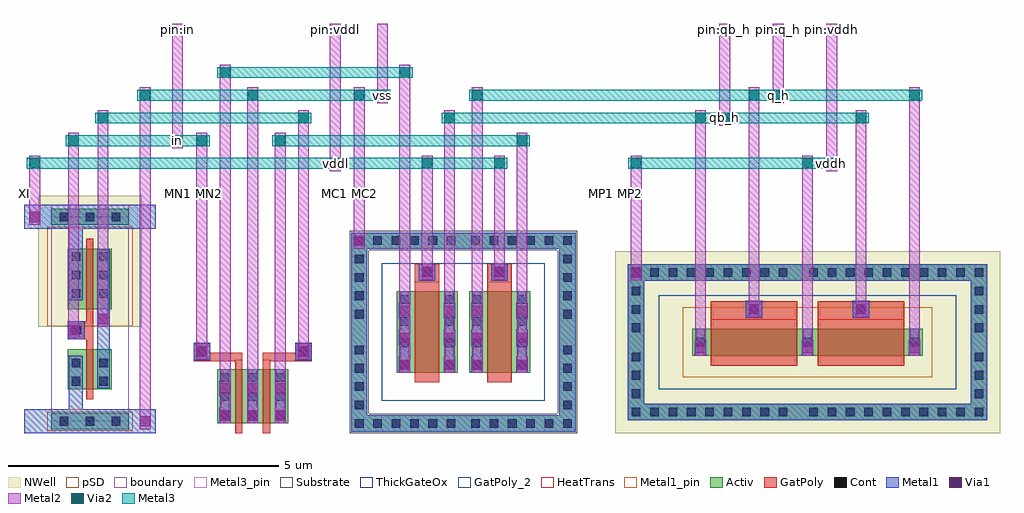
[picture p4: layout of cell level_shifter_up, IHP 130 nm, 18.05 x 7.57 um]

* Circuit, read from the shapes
.subckt level_shifter_up in q_h qb_h vddh vddl vss
XM1 sg13cmos5l_inv_1_0/Y in vss vss sg13_lv_nmos w=0.74u l=0.13u
XM2 vss in n1 vss sg13_lv_nmos w=1u l=0.13u
XM3 n2 sg13cmos5l_inv_1_0/Y vss vss sg13_lv_nmos w=1u l=0.13u
XM4 qb_h vddl n1 vss sg13_hv_nmos w=1.5u l=0.45u
XM5 n2 vddl q_h vss sg13_hv_nmos w=1.5u l=0.45u
XM6 sg13cmos5l_inv_1_0/Y in vddl vddl sg13_lv_pmos w=1.12u l=0.13u
XM7 vddh q_h qb_h vddh sg13_hv_pmos w=0.5u l=1.6u
XM8 q_h qb_h vddh vddh sg13_hv_pmos w=0.5u l=1.6u
.ends

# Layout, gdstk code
import gdstk
lib = gdstk.Library(unit=1e-6, precision=1e-09)
def R(c, l, rs):  # rectangles x0, y0, x1, y1
    for r in rs: c.add(gdstk.rectangle(r[:2], r[2:], *l))
def A(c, l, x, y, w, h, nx, ny, dx, dy):  # array of equal rectangles
    R(c, l, [(x+i*dx, y+j*dy, x+i*dx+w, y+j*dy+h) for i in range(nx) for j in range(ny)])
def P(c, l, *ps):  # polygons
    for p in ps: c.add(gdstk.Polygon(p, *l))
Activ = (1, 0)
GatPoly = (5, 0)
GatPoly_2 = (5, 2)
Cont = (6, 0)
Metal1 = (8, 0)
Metal1_pin = (8, 2)
Metal2 = (10, 0)
pSD = (14, 0)
Via1 = (19, 0)
Via2 = (29, 0)
Metal3 = (30, 0)
Metal3_pin = (30, 2)
NWell = (31, 0)
Substrate = (40, 0)
ThickGateOx = (44, 0)
HeatTrans = (51, 0)
boundary = (189, 4)

sg13cmos5l_inv_1 = lib.new_cell('sg13cmos5l_inv_1')
R(sg13cmos5l_inv_1, Activ, [(0,-0.15,1.44,0.15), (0.31,0.59,1.12,1.33), (0.31,2.075,1.12,3.195), (0,3.63,1.44,3.93)])
P(sg13cmos5l_inv_1, GatPoly, [(0.65,0.41),(0.65,1.52),(0.31,1.52),(0.31,1.85),(0.65,1.85),(0.65,3.375),(0.78,3.375),(0.78,0.41)])
A(sg13cmos5l_inv_1, Cont, 0.38, 2.285, 0.16, 0.16, 1, 3, 0, 0.34)
A(sg13cmos5l_inv_1, Cont, 0.89, 2.285, 0.16, 0.16, 1, 3, 0, 0.34)
R(sg13cmos5l_inv_1, Cont, [(0.16,-0.08,0.32,0.08), (0.16,-0.08,0.32,0.08), (0.64,-0.08,0.8,0.08), (0.64,-0.08,0.8,0.08), (1.12,-0.08,1.28,0.08), (1.12,-0.08,1.28,0.08), (0.38,0.66,0.54,0.82), (0.89,0.66,1.05,0.82), (0.38,1,0.54,1.16), (0.89,1,1.05,1.16), (0.395,1.605,0.555,1.765), (0.16,3.7,0.32,3.86), (0.16,3.7,0.32,3.86), (0.64,3.7,0.8,3.86), (0.64,3.7,0.8,3.86), (1.12,3.7,1.28,3.86), (1.12,3.7,1.28,3.86)])
R(sg13cmos5l_inv_1, Metal1, [(0.855,0.61,1.085,3.175), (0.31,1.52,0.625,1.85)])
P(sg13cmos5l_inv_1, Metal1, [(0,-0.22),(0,0.22),(0.33,0.22),(0.33,1.21),(0.59,1.21),(0.59,0.22),(1.44,0.22),(1.44,-0.22)],
  [(0.33,2.235),(0.33,3.56),(0,3.56),(0,4),(1.44,4),(1.44,3.56),(0.59,3.56),(0.59,2.235)])
R(sg13cmos5l_inv_1, Metal1_pin, [(0,-0.22,1.44,0.22), (0.855,0.61,1.085,3.175), (0.31,1.52,0.625,1.85), (0,3.56,1.44,4)])
R(sg13cmos5l_inv_1, pSD, [(-0.07,-0.18,1.51,0.18), (-0.07,1.76,1.51,3.6)])
R(sg13cmos5l_inv_1, NWell, [(-0.24,1.75,1.68,4.17)])
R(sg13cmos5l_inv_1, boundary, [(0,0,1.44,3.78)])
sg13cmos5l_inv_1.add(gdstk.Label('VDD', (0.705,3.78), layer=8, texttype=25))
sg13cmos5l_inv_1.add(gdstk.Label('VSS', (0.72,-0.02), layer=8, texttype=25))
sg13cmos5l_inv_1.add(gdstk.Label('A', (0.48,1.68), layer=8, texttype=25))
sg13cmos5l_inv_1.add(gdstk.Label('Y', (0.98,1.69), layer=8, texttype=25))

nmos_2 = lib.new_cell('nmos$2')
A(nmos_2, Activ, 0, 0, 0.3, 0.3, 3, 1, 0.51, 0)
R(nmos_2, Activ, [(0,0,1.32,1)])
R(nmos_2, GatPoly, [(0.34,-0.18,0.47,1.18), (0.85,-0.18,0.98,1.18)])
R(nmos_2, GatPoly_2, [(0.34,-0.18,0.47,1.18)])
A(nmos_2, Cont, 0.07, 0.07, 0.16, 0.16, 3, 3, 0.51, 0.35)
A(nmos_2, Metal1, 0.07, 0, 0.16, 1, 3, 1, 0.51, 0)
R(nmos_2, Metal1_pin, [(0.07,0,0.23,1), (0.58,0,0.74,1)])
R(nmos_2, HeatTrans, [(0.34,-0.18,0.47,1.18), (0.85,-0.18,0.98,1.18)])
nmos_2.add(gdstk.Label('nmos', (0.405,0.5), layer=63, texttype=0))
nmos_2.add(gdstk.Label('nmos', (0.405,0.5), layer=51, texttype=0))
nmos_2.add(gdstk.Label('nmos', (0.915,0.5), layer=51, texttype=0))

nmoshv_1 = lib.new_cell('nmosHV$1')
R(nmoshv_1, Activ, [(0,0,0.3,0.3), (0,0,1.13,1.5), (0.83,0,1.13,0.3)])
R(nmoshv_1, GatPoly, [(0.34,-0.18,0.79,1.68)])
R(nmoshv_1, GatPoly_2, [(0.34,-0.18,0.79,1.68)])
A(nmoshv_1, Cont, 0.07, 0.07, 0.16, 0.16, 1, 4, 0, 0.4)
A(nmoshv_1, Cont, 0.9, 0.07, 0.16, 0.16, 1, 4, 0, 0.4)
R(nmoshv_1, Metal1, [(0.07,0,0.23,1.5), (0.9,0,1.06,1.5)])
R(nmoshv_1, Metal1_pin, [(0.07,0,0.23,1.5), (0.9,0,1.06,1.5)])
R(nmoshv_1, ThickGateOx, [(-0.27,-0.52,1.4,2.02)])
R(nmoshv_1, HeatTrans, [(0.34,-0.18,0.79,1.68)])
nmoshv_1.add(gdstk.Label('nmosHV', (0.565,0.75), layer=63, texttype=0))
nmoshv_1.add(gdstk.Label('nmosHV', (0.565,0.75), layer=51, texttype=0))

guard_ring_2 = lib.new_cell('guard_ring$2')
R(guard_ring_2, Activ, [(-2.075,-1.54,-1.775,1.54), (1.775,-1.54,2.075,1.54), (-2.075,1.54,2.075,1.84)])
P(guard_ring_2, Activ, [(-2.075,-1.84),(-2.075,1.54),(-1.775,1.54),(-1.775,-1.54),(1.775,-1.54),(1.775,1.54),(-2.075,1.54),(-2.075,1.84),(2.075,1.84),(2.075,-1.84)])
A(guard_ring_2, Cont, -2.005, -1.77, 0.16, 0.16, 6, 2, 0.34, 3.38)
A(guard_ring_2, Cont, 0.145, -1.77, 0.16, 0.16, 6, 2, 0.34, 3.38)
A(guard_ring_2, Cont, -2.005, -1.43, 0.16, 0.16, 1, 4, 0, 0.34)
A(guard_ring_2, Cont, 1.845, -1.43, 0.16, 0.16, 1, 4, 0, 0.34)
A(guard_ring_2, Cont, -2.005, 0.25, 0.16, 0.16, 1, 4, 0, 0.34)
A(guard_ring_2, Cont, 1.845, 0.25, 0.16, 0.16, 1, 4, 0, 0.34)
R(guard_ring_2, Metal1, [(-2.075,-1.84,2.075,-1.54), (-2.075,-1.54,-1.775,1.54), (1.775,-1.54,2.075,1.54), (-2.075,1.54,2.075,1.84)])
R(guard_ring_2, pSD, [(-2.105,-1.51,-1.745,1.51), (1.745,-1.51,2.105,1.51), (-2.105,1.51,2.105,1.87)])
P(guard_ring_2, pSD, [(-2.105,-1.87),(-2.105,1.51),(-1.745,1.51),(-1.745,-1.51),(1.745,-1.51),(1.745,1.51),(-2.105,1.51),(-2.105,1.87),(2.105,1.87),(2.105,-1.87)])
R(guard_ring_2, Substrate, [(-2.105,-1.51,-1.745,1.51), (1.745,-1.51,2.105,1.51), (-2.105,1.51,2.105,1.87)])
P(guard_ring_2, Substrate, [(-2.105,-1.87),(-2.105,1.51),(-1.745,1.51),(-1.745,-1.51),(1.745,-1.51),(1.745,1.51),(-2.105,1.51),(-2.105,1.87),(2.105,1.87),(2.105,-1.87)])
guard_ring_2.add(gdstk.Label('sub!', (0,-1.69), layer=63, texttype=0))

pmoshv_1 = lib.new_cell('pmosHV$1')
A(pmoshv_1, Activ, 0, 0, 0.3, 0.3, 3, 1, 1.98, 0)
R(pmoshv_1, Activ, [(0,0,4.26,0.5)])
R(pmoshv_1, GatPoly, [(0.34,-0.18,1.94,0.68), (2.32,-0.18,3.92,0.68)])
R(pmoshv_1, GatPoly_2, [(0.34,-0.18,1.94,0.68)])
A(pmoshv_1, Cont, 0.07, 0.17, 0.16, 0.16, 3, 1, 1.98, 0)
A(pmoshv_1, Metal1, 0.07, 0, 0.16, 0.5, 3, 1, 1.98, 0)
R(pmoshv_1, Metal1_pin, [(0.07,0,0.23,0.5), (2.05,0,2.21,0.5)])
R(pmoshv_1, pSD, [(-0.18,-0.4,4.44,0.9)])
R(pmoshv_1, NWell, [(-0.62,-0.62,4.88,1.12)])
R(pmoshv_1, ThickGateOx, [(-0.62,-0.62,4.88,1.12)])
R(pmoshv_1, HeatTrans, [(0.34,-0.18,1.94,0.68), (2.32,-0.18,3.92,0.68)])
pmoshv_1.add(gdstk.Label('pmosHV', (1.14,0.25), layer=63, texttype=0))
pmoshv_1.add(gdstk.Label('pmos', (1.14,0.25), layer=51, texttype=0))
pmoshv_1.add(gdstk.Label('pmos', (3.12,0.25), layer=51, texttype=0))

guard_ring_1_1 = lib.new_cell('guard_ring$1$1')
R(guard_ring_1_1, Activ, [(-3.32,-1.14,-3.02,1.14), (3.02,-1.14,3.32,1.14), (-3.32,1.14,3.32,1.44)])
P(guard_ring_1_1, Activ, [(-3.32,-1.44),(-3.32,1.14),(-3.02,1.14),(-3.02,-1.14),(3.02,-1.14),(3.02,1.14),(-3.32,1.14),(-3.32,1.44),(3.32,1.44),(3.32,-1.44)])
A(guard_ring_1_1, Cont, -3.25, -1.37, 0.16, 0.16, 9, 2, 0.34, 2.58)
A(guard_ring_1_1, Cont, 0.03, -1.37, 0.16, 0.16, 10, 2, 0.34, 2.58)
A(guard_ring_1_1, Cont, -3.25, -1.03, 0.16, 0.16, 1, 3, 0, 0.34)
A(guard_ring_1_1, Cont, 3.09, -1.03, 0.16, 0.16, 1, 3, 0, 0.34)
A(guard_ring_1_1, Cont, -3.25, 0.19, 0.16, 0.16, 1, 3, 0, 0.34)
A(guard_ring_1_1, Cont, 3.09, 0.19, 0.16, 0.16, 1, 3, 0, 0.34)
R(guard_ring_1_1, Metal1, [(-3.32,-1.44,3.32,-1.14), (-3.32,-1.14,-3.02,1.14), (3.02,-1.14,3.32,1.14), (-3.32,1.14,3.32,1.44)])
R(guard_ring_1_1, NWell, [(-3.56,-1.68,3.56,1.68)])
guard_ring_1_1.add(gdstk.Label('well', (0,-1.29), layer=63, texttype=0))

level_shifter_up = lib.new_cell('level_shifter_up')
R(level_shifter_up, GatPoly, [(3.14,1.33,4.04,1.49), (3.14,1.33,3.44,1.66), (4.42,1.33,5.32,1.49), (5.02,1.33,5.32,1.66), (12.7,2.11,14.3,2.44), (14.68,2.11,16.28,2.44), (7.23,2.8,7.68,3.13), (8.57,2.8,9.02,3.13)])
R(level_shifter_up, Cont, [(3.21,1.43,3.37,1.59), (5.09,1.43,5.25,1.59), (13.42,2.21,13.58,2.37), (15.4,2.21,15.56,2.37), (7.375,2.9,7.535,3.06), (8.715,2.9,8.875,3.06)])
A(level_shifter_up, Metal1, 3.615, 0.18, 0.21, 0.29, 3, 2, 0.51, 0.5)
A(level_shifter_up, Metal1, 6.935, 1.12, 0.21, 0.29, 1, 3, 0, 0.5)
A(level_shifter_up, Metal1, 7.765, 1.12, 0.21, 0.29, 1, 3, 0, 0.5)
A(level_shifter_up, Metal1, 8.275, 1.12, 0.21, 0.29, 1, 3, 0, 0.5)
A(level_shifter_up, Metal1, 9.105, 1.12, 0.21, 0.29, 1, 3, 0, 0.5)
A(level_shifter_up, Metal1, 12.405, 1.43, 0.21, 0.29, 3, 1, 1.98, 0)
R(level_shifter_up, Metal1, [(0,0,0.5,0.44), (1.94,0,2.44,0.44), (2.135,0.075,2.345,0.365), (3.14,1.35,3.44,1.67), (5.02,1.35,5.32,1.67), (3.185,1.365,3.395,1.655), (5.065,1.365,5.275,1.655), (0.81,1.76,1.02,2.05), (1.355,1.965,1.565,2.255), (13.35,2.13,13.65,2.45), (15.33,2.13,15.63,2.45), (13.395,2.145,13.605,2.435), (15.375,2.145,15.585,2.435), (7.305,2.82,7.605,3.14), (8.645,2.82,8.945,3.14), (11.215,2.825,11.425,3.115), (7.35,2.835,7.56,3.125), (8.69,2.835,8.9,3.125), (6.095,3.415,6.305,3.705), (0,3.78,0.5,4.22), (1.94,3.78,2.44,4.22), (0.095,3.855,0.305,4.145)])
R(level_shifter_up, Metal2, [(2.14,0.075,2.34,6.395), (3.62,0.18,3.82,6.815), (4.13,0.18,4.33,6.395), (4.64,0.18,4.84,5.555), (6.94,1.12,7.14,6.815), (7.77,1.12,7.97,5.975), (8.28,1.12,8.48,6.395), (9.11,1.12,9.31,5.555), (3.19,1.365,3.39,5.555), (5.07,1.365,5.27,5.975), (12.41,1.43,12.61,5.975), (14.39,1.43,14.59,5.135), (16.37,1.43,16.57,6.395), (0.815,1.76,1.015,5.555), (1.36,1.965,1.56,5.975), (13.4,2.145,13.6,6.395), (15.38,2.145,15.58,5.975), (11.22,2.825,11.42,5.135), (7.355,2.835,7.555,5.135), (8.695,2.835,8.895,5.135), (6.1,3.415,6.3,6.395), (0.1,3.855,0.3,5.135), (5.655,4.845,5.855,7.57), (14.84,4.845,15.04,7.57), (2.74,5.265,2.94,7.57), (12.86,5.685,13.06,7.57), (6.53,6.105,6.73,7.57), (13.85,6.105,14.05,7.57)])
A(level_shifter_up, Via1, 3.625, 0.23, 0.19, 0.19, 3, 2, 0.51, 0.5)
A(level_shifter_up, Via1, 6.945, 1.17, 0.19, 0.19, 1, 3, 0, 0.5)
A(level_shifter_up, Via1, 7.775, 1.17, 0.19, 0.19, 1, 3, 0, 0.5)
A(level_shifter_up, Via1, 8.285, 1.17, 0.19, 0.19, 1, 3, 0, 0.5)
A(level_shifter_up, Via1, 9.115, 1.17, 0.19, 0.19, 1, 3, 0, 0.5)
A(level_shifter_up, Via1, 12.415, 1.48, 0.19, 0.19, 3, 1, 1.98, 0)
R(level_shifter_up, Via1, [(2.145,0.125,2.335,0.315), (3.195,1.415,3.385,1.605), (5.075,1.415,5.265,1.605), (0.82,1.81,1.01,2), (1.365,2.015,1.555,2.205), (13.405,2.195,13.595,2.385), (15.385,2.195,15.575,2.385), (11.225,2.875,11.415,3.065), (7.36,2.885,7.55,3.075), (8.7,2.885,8.89,3.075), (6.105,3.465,6.295,3.655), (0.105,3.905,0.295,4.095)])
R(level_shifter_up, Via2, [(0.105,4.895,0.295,5.085), (5.66,4.895,5.85,5.085), (7.36,4.895,7.55,5.085), (8.7,4.895,8.89,5.085), (11.225,4.895,11.415,5.085), (14.395,4.895,14.585,5.085), (14.845,4.895,15.035,5.085), (0.82,5.315,1.01,5.505), (2.745,5.315,2.935,5.505), (3.195,5.315,3.385,5.505), (4.645,5.315,4.835,5.505), (9.115,5.315,9.305,5.505), (1.365,5.735,1.555,5.925), (5.075,5.735,5.265,5.925), (7.775,5.735,7.965,5.925), (12.415,5.735,12.605,5.925), (12.865,5.735,13.055,5.925), (15.385,5.735,15.575,5.925), (2.145,6.155,2.335,6.345), (4.135,6.155,4.325,6.345), (6.105,6.155,6.295,6.345), (6.535,6.155,6.725,6.345), (8.285,6.155,8.475,6.345), (13.405,6.155,13.595,6.345), (13.855,6.155,14.045,6.345), (16.375,6.155,16.565,6.345), (3.625,6.575,3.815,6.765), (6.945,6.575,7.135,6.765)])
R(level_shifter_up, Metal3, [(0.055,4.89,8.94,5.09), (11.175,4.89,15.085,5.09), (0.77,5.31,3.435,5.51), (4.595,5.31,9.355,5.51), (1.315,5.73,5.315,5.93), (7.725,5.73,15.625,5.93), (2.095,6.15,6.775,6.35), (8.235,6.15,16.615,6.35), (3.575,6.57,7.185,6.77)])
R(level_shifter_up, Metal3_pin, [(5.69,4.925,5.82,5.055), (14.875,4.925,15.005,5.055), (2.775,5.345,2.905,5.475), (12.895,5.765,13.025,5.895), (6.565,6.185,6.695,6.315), (13.885,6.185,14.015,6.315)])
R(level_shifter_up, ThickGateOx, [(6.62,0.6,9.63,3.14), (11.74,0.81,17.24,2.55)])
level_shifter_up.add(gdstk.Reference(sg13cmos5l_inv_1, (0.5,0.22)))
level_shifter_up.add(gdstk.Reference(nmos_2, (3.57,0.18)))
level_shifter_up.add(gdstk.Reference(nmoshv_1, (6.89,1.12)))
level_shifter_up.add(gdstk.Reference(nmoshv_1, (8.23,1.12)))
level_shifter_up.add(gdstk.Reference(guard_ring_2, (8.125,1.87)))
level_shifter_up.add(gdstk.Reference(pmoshv_1, (12.36,1.43)))
level_shifter_up.add(gdstk.Reference(guard_ring_1_1, (14.49,1.68)))
level_shifter_up.add(gdstk.Label('in', (2.84,5.41), layer=30, texttype=25))
level_shifter_up.add(gdstk.Label('q_h', (13.95,6.25), layer=30, texttype=25))
level_shifter_up.add(gdstk.Label('qb_h', (12.96,5.83), layer=30, texttype=25))
level_shifter_up.add(gdstk.Label('vddl', (5.755,4.99), layer=30, texttype=25))
level_shifter_up.add(gdstk.Label('vddh', (14.94,4.99), layer=30, texttype=25))
level_shifter_up.add(gdstk.Label('vss', (6.63,6.25), layer=30, texttype=25))
level_shifter_up.add(gdstk.Label('XI', (0,4.44), layer=63, texttype=0))
level_shifter_up.add(gdstk.Label('MN1 MN2', (3.14,4.44), layer=63, texttype=0))
level_shifter_up.add(gdstk.Label('MC1 MC2', (6.02,4.44), layer=63, texttype=0))
level_shifter_up.add(gdstk.Label('MP1 MP2', (10.93,4.44), layer=63, texttype=0))
level_shifter_up.add(gdstk.Label('pin:in', (2.84,7.47), layer=63, texttype=0))
level_shifter_up.add(gdstk.Label('pin:q_h', (13.95,7.47), layer=63, texttype=0))
level_shifter_up.add(gdstk.Label('pin:qb_h', (12.96,7.47), layer=63, texttype=0))
level_shifter_up.add(gdstk.Label('pin:vddl', (5.755,7.47), layer=63, texttype=0))
level_shifter_up.add(gdstk.Label('pin:vddh', (14.94,7.47), layer=63, texttype=0))
level_shifter_up.add(gdstk.Label('pin:vss', (6.63,7.47), layer=63, texttype=0))

lib.write_gds('level_shifter_up.gds')
